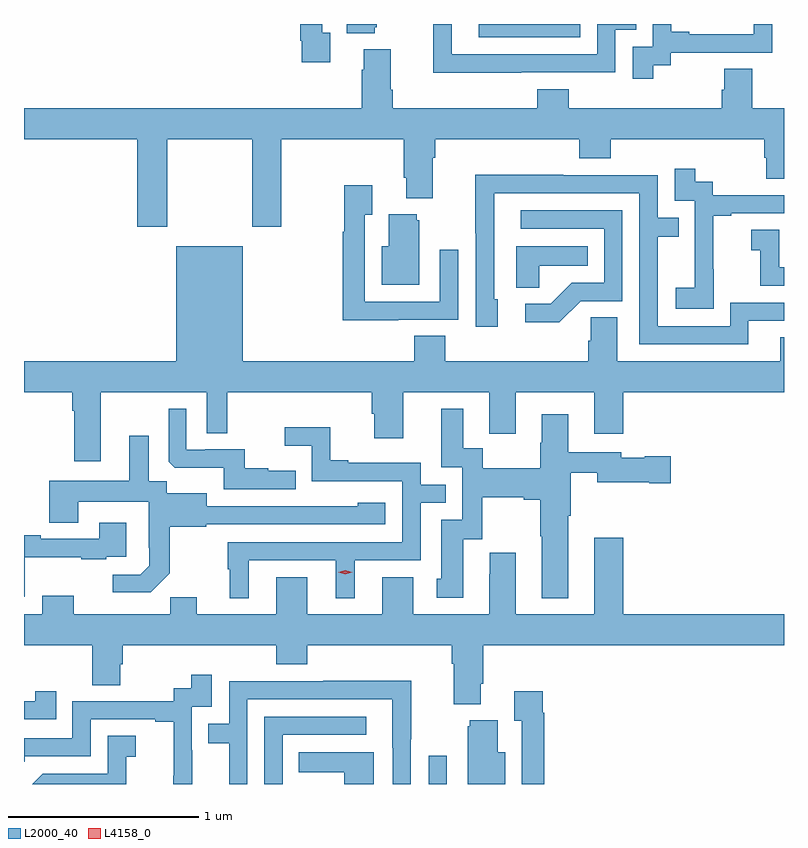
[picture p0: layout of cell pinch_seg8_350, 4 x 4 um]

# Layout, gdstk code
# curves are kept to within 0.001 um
import gdstk
lib = gdstk.Library(unit=1e-6, precision=1e-09)
def R(c, l, rs):  # rectangles x0, y0, x1, y1
    for r in rs: c.add(gdstk.rectangle(r[:2], r[2:], *l))
def P(c, l, *ps):  # polygons
    for p in ps: c.add(gdstk.Polygon(p, *l))
L2000_40 = (2000, 40)
L4158_0 = (4158, 0)

pinch_seg8_350 = lib.new_cell('pinch_seg8_350')
R(pinch_seg8_350, L2000_40, [(469.929,1153.067,470.025,1153.216), (470.193,1156.998,470.727,1157.067)])
P(pinch_seg8_350, L2000_40, [(471.112,1156.849),(471.204,1156.849),(471.204,1156.917),(471.738,1156.917),(471.738,1157.067),(471.642,1157.067),(471.642,1157.013),(471.301,1157.013),(471.301,1157.026),(471.206,1157.026),(471.206,1157.067),(471.108,1157.067),(471.108,1156.947),(471.003,1156.947),(471.003,1156.779),(471.112,1156.779)],
  [(470.417,1156.812),(470.913,1156.812),(470.913,1157.037),(471.023,1157.037),(471.023,1157.067),(470.817,1157.067),(470.817,1156.908),(470.052,1156.908),(470.052,1157.067),(469.954,1157.067),(469.954,1156.811),(470.417,1156.811)],
  [(469.411,1157.022),(469.371,1157.022),(469.371,1157.067),(469.255,1157.067),(469.255,1156.978),(469.263,1156.978),(469.263,1156.866),(469.411,1156.866)],
  [(469.646,1157.049),(469.657,1157.049),(469.657,1157.067),(469.499,1157.067),(469.499,1157.018),(469.646,1157.018)],
  [(468.555,1156.46),(469,1156.46),(469,1155.999),(469.155,1155.999),(469.155,1156.46),(469.799,1156.46),(469.799,1156.258),(469.811,1156.258),(469.811,1156.151),(469.951,1156.151),(469.951,1156.364),(469.964,1156.364),(469.964,1156.46),(470.723,1156.46),(470.723,1156.361),(470.888,1156.361),(470.888,1156.46),(471.695,1156.46),(471.695,1156.362),(471.707,1156.362),(471.707,1156.252),(471.8,1156.252),(471.8,1156.624),(471.633,1156.624),(471.633,1156.832),(471.485,1156.832),(471.485,1156.722),(471.473,1156.722),(471.473,1156.624),(470.666,1156.624),(470.666,1156.723),(470.501,1156.723),(470.501,1156.624),(469.742,1156.624),(469.742,1156.72),(469.729,1156.72),(469.729,1156.933),(469.589,1156.933),(469.589,1156.826),(469.577,1156.826),(469.577,1156.624),(467.8,1156.624),(467.8,1156.46),(468.395,1156.46),(468.395,1155.999),(468.555,1155.999)],
  [(471.429,1155.775),(471.428,1155.775),(471.428,1156.059),(471.523,1156.059),(471.523,1156.071),(471.8,1156.071),(471.8,1156.167),(471.426,1156.167),(471.426,1156.236),(471.334,1156.236),(471.334,1156.306),(471.225,1156.306),(471.225,1156.137),(471.33,1156.137),(471.33,1155.908),(471.329,1155.908),(471.329,1155.679),(471.231,1155.679),(471.231,1155.569),(471.429,1155.569)],
  [(471.613,1155.504),(471.8,1155.504),(471.8,1155.6),(471.516,1155.6),(471.516,1155.477),(471.135,1155.477),(471.135,1155.946),(471.245,1155.946),(471.245,1156.047),(471.135,1156.047),(471.135,1156.272),(470.639,1156.272),(470.639,1156.274),(470.176,1156.274),(470.176,1155.967),(470.178,1155.967),(470.178,1155.474),(470.293,1155.474),(470.293,1155.618),(470.274,1155.618),(470.274,1156.176),(471.039,1156.176),(471.039,1155.381),(471.613,1155.381)],
  [(469.769,1155.51),(470.085,1155.51),(470.085,1155.88),(469.989,1155.88),(469.989,1155.606),(469.593,1155.606),(469.593,1156.063),(469.633,1156.063),(469.633,1156.219),(469.485,1156.219),(469.485,1155.974),(469.477,1155.974),(469.477,1155.509),(469.769,1155.509)],
  [(470.73,1155.609),(470.949,1155.609),(470.949,1156.086),(470.415,1156.086),(470.415,1155.99),(470.853,1155.99),(470.853,1155.705),(470.684,1155.705),(470.573,1155.594),(470.439,1155.594),(470.439,1155.497),(470.617,1155.497)],
  [(469.879,1156.035),(469.868,1156.035),(469.868,1156.066),(469.721,1156.066),(469.721,1155.898),(469.682,1155.898),(469.682,1155.695),(469.879,1155.695)],
  [(471.8,1155.786),(471.774,1155.786),(471.774,1155.985),(471.627,1155.985),(471.627,1155.875),(471.676,1155.875),(471.676,1155.69),(471.8,1155.69)],
  [(468.205,1155.128),(468.762,1155.128),(468.762,1154.914),(468.871,1154.914),(468.871,1155.128),(469.631,1155.128),(469.631,1155.015),(469.643,1155.015),(469.643,1154.886),(469.795,1154.886),(469.795,1155.128),(470.249,1155.128),(470.249,1154.91),(470.389,1154.91),(470.389,1155.128),(470.801,1155.128),(470.801,1154.91),(470.954,1154.91),(470.954,1155.128),(471.8,1155.128),(471.8,1155.419),(471.779,1155.419),(471.779,1155.292),(470.923,1155.292),(470.923,1155.524),(470.784,1155.524),(470.784,1155.401),(470.771,1155.401),(470.771,1155.292),(470.018,1155.292),(470.018,1155.425),(469.853,1155.425),(469.853,1155.292),(468.952,1155.292),(468.952,1155.898),(468.602,1155.898),(468.602,1155.292),(467.8,1155.292),(467.8,1155.128),(468.053,1155.128),(468.053,1155.032),(468.065,1155.032),(468.065,1154.766),(468.205,1154.766)],
  [(470.511,1155.794),(470.768,1155.794),(470.768,1155.898),(470.39,1155.898),(470.39,1155.679),(470.511,1155.679)],
  [(469.229,1154.716),(469.085,1154.716),(469.085,1154.728),(468.962,1154.728),(468.962,1154.829),(468.754,1154.829),(468.754,1154.826),(468.654,1154.826),(468.654,1155.043),(468.561,1155.043),(468.561,1154.763),(468.593,1154.732),(468.852,1154.732),(468.852,1154.619),(469.229,1154.619)],
  [(470.665,1154.48),(470.678,1154.48),(470.678,1154.706),(470.816,1154.706),(470.816,1154.656),(471.092,1154.656),(471.092,1154.651),(471.205,1154.651),(471.205,1154.793),(471.066,1154.793),(471.066,1154.785),(470.944,1154.785),(470.944,1154.814),(470.665,1154.814),(470.665,1155.013),(470.525,1155.013),(470.525,1154.862),(470.518,1154.862),(470.518,1154.728),(470.215,1154.728),(470.215,1154.834),(470.113,1154.834),(470.113,1155.043),(469.997,1155.043),(469.997,1154.733),(470.106,1154.733),(470.106,1154.457),(469.997,1154.457),(469.997,1154.148),(469.973,1154.148),(469.973,1154.046),(470.113,1154.046),(470.113,1154.354),(470.211,1154.354),(470.211,1154.576),(470.429,1154.576),(470.429,1154.564),(470.518,1154.564),(470.518,1154.371),(470.525,1154.371),(470.525,1154.045),(470.665,1154.045)],
  [(468.982,1154.244),(469.442,1154.244),(469.442,1154.045),(469.54,1154.045),(469.54,1154.244),(469.887,1154.244),(469.887,1154.547),(470.021,1154.547),(470.021,1154.643),(469.887,1154.643),(469.887,1154.757),(469.507,1154.757),(469.507,1154.77),(469.413,1154.77),(469.413,1154.945),(469.173,1154.945),(469.173,1154.846),(469.314,1154.846),(469.314,1154.661),(469.791,1154.661),(469.791,1154.34),(468.873,1154.34),(468.873,1154.196),(468.884,1154.196),(468.884,1154.045),(468.982,1154.045)],
  [(468.567,1154.175),(468.567,1154.421),(468.759,1154.421),(468.759,1154.433),(469.702,1154.433),(469.702,1154.548),(469.557,1154.548),(469.557,1154.53),(468.763,1154.529),(468.763,1154.596),(468.552,1154.596),(468.552,1154.66),(468.457,1154.66),(468.457,1154.899),(468.353,1154.899),(468.353,1154.662),(467.933,1154.662),(467.933,1154.443),(468.085,1154.443),(468.085,1154.552),(468.456,1154.552),(468.456,1154.311),(468.458,1154.311),(468.458,1154.216),(468.411,1154.169),(468.267,1154.169),(468.267,1154.075),(468.467,1154.075)],
  [(467.803,1154.261),(468.101,1154.261),(468.101,1154.25),(468.233,1154.25),(468.233,1154.262),(468.337,1154.262),(468.337,1154.443),(468.197,1154.443),(468.197,1154.358),(467.887,1154.358),(467.887,1154.377),(467.8,1154.377),(467.8,1154.052),(467.803,1154.052)],
  [(470.203,1153.594),(470.216,1153.594),(470.216,1153.796),(471.8,1153.796),(471.8,1153.96),(470.954,1153.96),(470.954,1154.362),(470.801,1154.362),(470.801,1153.96),(470.389,1153.96),(470.389,1154.284),(470.252,1154.284),(470.252,1154.171),(470.249,1154.171),(470.249,1153.96),(469.849,1153.96),(469.849,1154.155),(469.685,1154.155),(469.685,1153.96),(469.291,1153.96),(469.291,1154.155),(469.127,1154.155),(469.127,1153.96),(468.709,1153.96),(468.709,1154.051),(468.571,1154.051),(468.571,1153.96),(468.061,1153.96),(468.061,1154.059),(467.897,1154.059),(467.897,1153.96),(467.8,1153.96),(467.8,1153.796),(468.16,1153.796),(468.16,1153.588),(468.307,1153.588),(468.307,1153.698),(468.32,1153.698),(468.32,1153.796),(469.127,1153.796),(469.127,1153.697),(469.292,1153.697),(469.292,1153.796),(470.051,1153.796),(470.051,1153.7),(470.063,1153.7),(470.063,1153.487),(470.203,1153.487)],
  [(468.686,1153.244),(468.684,1153.244),(468.684,1153.473),(468.789,1153.473),(468.789,1153.642),(468.681,1153.642),(468.681,1153.572),(468.588,1153.572),(468.588,1153.503),(468.054,1153.503),(468.054,1153.308),(467.8,1153.308),(467.8,1153.185),(467.805,1153.185),(467.805,1153.212),(468.15,1153.212),(468.15,1153.407),(468.491,1153.407),(468.491,1153.395),(468.587,1153.395),(468.587,1153.111),(468.586,1153.111),(468.586,1153.067),(468.686,1153.067)],
  [(468.975,1153.512),(469.739,1153.512),(469.739,1153.258),(469.74,1153.258),(469.74,1153.067),(469.836,1153.067),(469.836,1153.303),(469.839,1153.303),(469.839,1153.61),(469.375,1153.61),(469.375,1153.608),(468.879,1153.608),(468.879,1153.383),(468.769,1153.383),(468.769,1153.282),(468.879,1153.282),(468.879,1153.067),(468.975,1153.067)],
  [(470.537,1153.442),(470.53,1153.442),(470.53,1153.555),(470.381,1153.555),(470.381,1153.399),(470.421,1153.399),(470.421,1153.067),(470.537,1153.067)],
  [(467.969,1153.555),(467.858,1153.555),(467.858,1153.503),(467.8,1153.503),(467.8,1153.407),(467.969,1153.407)],
  [(469.161,1153.326),(469.6,1153.326),(469.6,1153.422),(469.065,1153.422),(469.065,1153.067),(469.161,1153.067)],
  [(470.332,1153.234),(470.293,1153.234),(470.293,1153.402),(470.147,1153.402),(470.147,1153.371),(470.135,1153.371),(470.135,1153.067),(470.332,1153.067)],
  [(468.339,1153.211),(468.388,1153.211),(468.388,1153.321),(468.24,1153.321),(468.24,1153.122),(467.898,1153.122),(467.843,1153.067),(468.339,1153.067)],
  [(469.642,1153.234),(469.246,1153.234),(469.246,1153.13),(469.485,1153.13),(469.485,1153.067),(469.642,1153.067)])
P(pinch_seg8_350, L4158_0, [(469.491,1154.172),(469.455,1154.181),(469.455,1154.182),(469.455,1154.182),(469.491,1154.192),(469.527,1154.182),(469.527,1154.182),(469.527,1154.181)])

lib.write_gds('pinch_seg8_350.gds')
